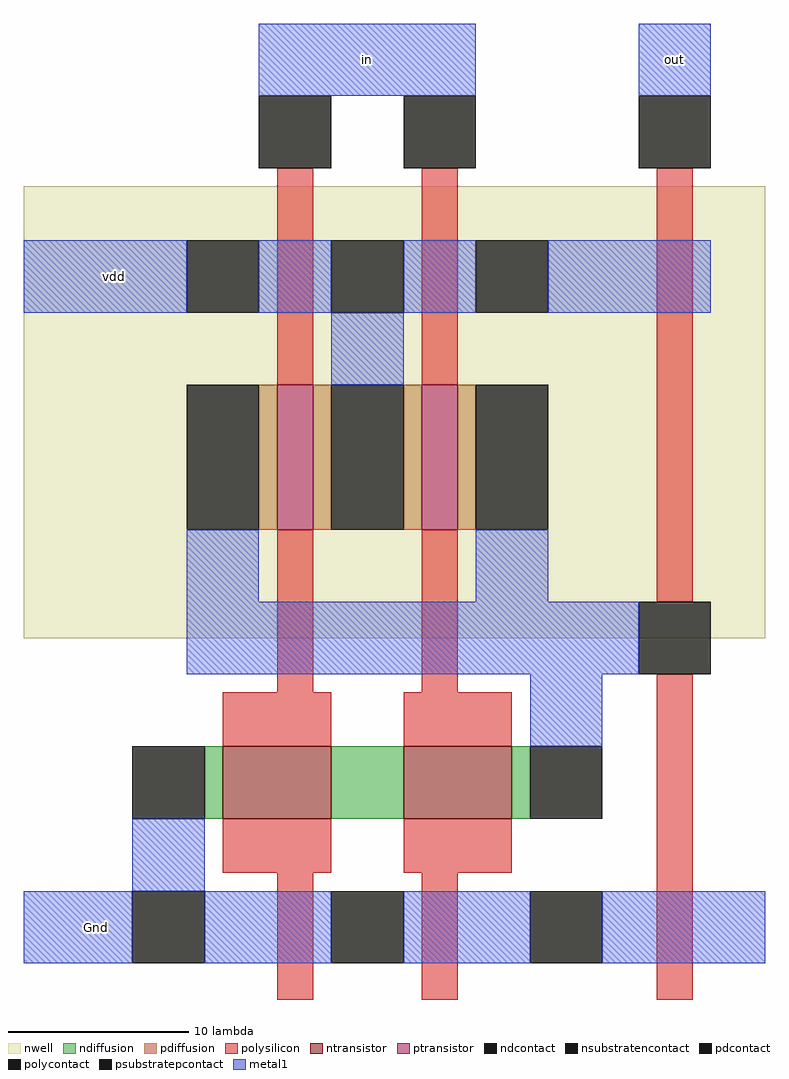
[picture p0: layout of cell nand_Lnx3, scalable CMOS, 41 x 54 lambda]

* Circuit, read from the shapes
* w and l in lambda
.subckt nand_Lnx3 Gnd in out vdd
M1 n1 in Gnd Gnd nfet w=4 l=6
M2 out in n1 Gnd nfet w=4 l=6
M3 vdd in out vdd pfet w=8 l=2 m=2
.ends

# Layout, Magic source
magic
tech scmos
<< nwell >>
rect -17 1 24 26
<< ntransistor >>
rect -6 -9 0 -5
rect 4 -9 10 -5
<< ptransistor >>
rect -3 7 -1 15
rect 5 7 7 15
<< ndiffusion >>
rect -7 -9 -6 -5
rect 0 -9 4 -5
rect 10 -9 11 -5
<< pdiffusion >>
rect -4 7 -3 15
rect -1 7 0 15
rect 4 7 5 15
rect 7 7 8 15
<< ndcontact >>
rect -11 -9 -7 -5
rect 11 -9 15 -5
<< pdcontact >>
rect -8 7 -4 15
rect 0 7 4 15
rect 8 7 12 15
<< psubstratepcontact >>
rect -11 -17 -7 -13
rect 0 -17 4 -13
rect 11 -17 15 -13
<< nsubstratencontact >>
rect -8 19 -4 23
rect 0 19 4 23
rect 8 19 12 23
<< polysilicon >>
rect -3 15 -1 27
rect 5 15 7 27
rect -3 -2 -1 7
rect 5 -2 7 7
rect 18 3 20 27
rect -6 -5 0 -2
rect 4 -5 10 -2
rect -6 -12 0 -9
rect 4 -12 10 -9
rect -3 -19 -1 -12
rect 5 -19 7 -12
rect 18 -19 20 -1
<< polycontact >>
rect -4 27 0 31
rect 4 27 8 31
rect 17 27 21 31
rect 17 -1 21 3
<< metal1 >>
rect -4 31 8 35
rect 17 31 21 35
rect -17 19 -8 23
rect -4 19 0 23
rect 4 19 8 23
rect 12 19 21 23
rect 0 15 4 19
rect -8 3 -4 7
rect 8 3 12 7
rect -8 -1 17 3
rect 11 -5 15 -1
rect -11 -13 -7 -9
rect -17 -17 -11 -13
rect -7 -17 0 -13
rect 4 -17 11 -13
rect 15 -17 24 -13
<< labels >>
rlabel metal1 0 31 4 35 5 in
rlabel metal1 -14 19 -10 23 3 vdd
rlabel metal1 -15 -17 -11 -13 2 Gnd
rlabel metal1 17 31 21 35 6 out
<< end >>
